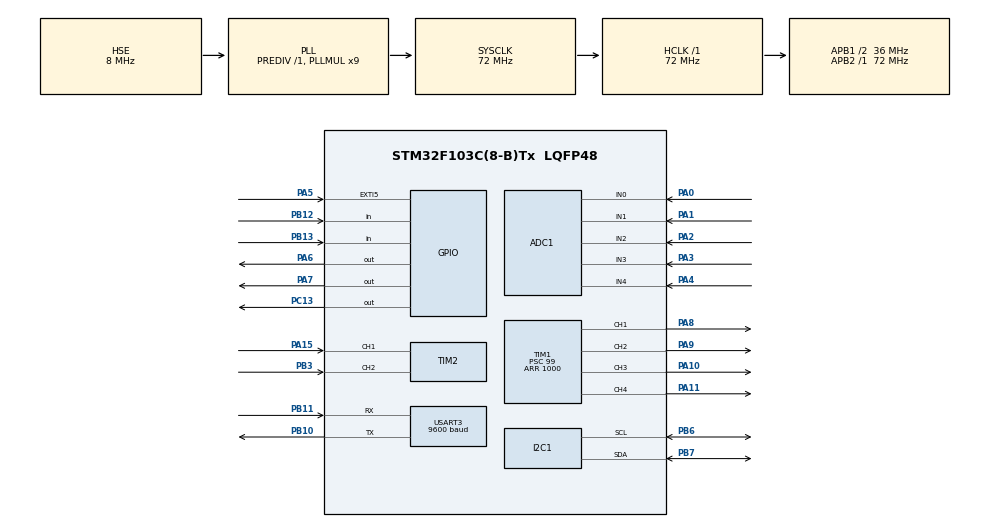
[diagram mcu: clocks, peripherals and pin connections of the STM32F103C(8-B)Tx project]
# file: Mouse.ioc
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ADC1.Channel-0\#ChannelRegularConversion=ADC_CHANNEL_0
ADC1.Channel-1\#ChannelRegularConversion=ADC_CHANNEL_0
ADC1.Channel-2\#ChannelRegularConversion=ADC_CHANNEL_0
ADC1.Channel-3\#ChannelRegularConversion=ADC_CHANNEL_0
ADC1.Channel-4\#ChannelRegularConversion=ADC_CHANNEL_0
ADC1.ContinuousConvMode=ENABLE
ADC1.NbrOfConversion=5
ADC1.NbrOfConversionFlag=1
ADC1.Rank-0\#ChannelRegularConversion=1
ADC1.Rank-1\#ChannelRegularConversion=2
ADC1.Rank-2\#ChannelRegularConversion=3
ADC1.Rank-3\#ChannelRegularConversion=4
ADC1.Rank-4\#ChannelRegularConversion=5
ADC1.SamplingTime-0\#ChannelRegularConversion=ADC_SAMPLETIME_1CYCLE_5
ADC1.SamplingTime-1\#ChannelRegularConversion=ADC_SAMPLETIME_1CYCLE_5
ADC1.SamplingTime-2\#ChannelRegularConversion=ADC_SAMPLETIME_1CYCLE_5
ADC1.SamplingTime-3\#ChannelRegularConversion=ADC_SAMPLETIME_1CYCLE_5
ADC1.SamplingTime-4\#ChannelRegularConversion=ADC_SAMPLETIME_1CYCLE_5
ADC1.master=1
Mcu.Family=STM32F1
Mcu.Name=STM32F103C(8-B)Tx
Mcu.Package=LQFP48
NVIC.EXTI9_5_IRQn=true\:0\:0\:false\:false\:true\:true\:true\:true
NVIC.PriorityGroup=NVIC_PRIORITYGROUP_4
NVIC.TIM2_IRQn=true\:0\:0\:false\:false\:true\:true\:true\:true
NVIC.USART3_IRQn=true\:0\:0\:false\:false\:true\:true\:true\:true
PA0-WKUP.Signal=ADCx_IN0
PA1.Signal=ADCx_IN1
PA10.Signal=S_TIM1_CH3
PA11.Signal=S_TIM1_CH4
PA13.Mode=Serial_Wire
PA13.Signal=SYS_JTMS-SWDIO
PA14.Mode=Serial_Wire
PA14.Signal=SYS_JTCK-SWCLK
PA15.GPIO_PuPd=GPIO_PULLUP
PA15.Signal=S_TIM2_CH1_ETR
PA2.Signal=ADCx_IN2
PA3.Signal=ADCx_IN3
PA4.Signal=ADCx_IN4
PA5.GPIO_PuPd=GPIO_PULLDOWN
PA5.Signal=GPXTI5
PA6.GPIO_PuPd=GPIO_PULLDOWN
PA6.Signal=GPIO_Output
PA7.GPIO_PuPd=GPIO_PULLDOWN
PA7.Signal=GPIO_Output
PA8.Signal=S_TIM1_CH1
PA9.Signal=S_TIM1_CH2
PB10.Mode=Asynchronous
PB10.Signal=USART3_TX
PB11.Mode=Asynchronous
PB11.Signal=USART3_RX
PB12.Signal=GPIO_Input
PB13.Signal=GPIO_Input
PB3.GPIO_PuPd=GPIO_PULLUP
PB3.Signal=S_TIM2_CH2
PB6.Mode=I2C
PB6.Signal=I2C1_SCL
PB7.Mode=I2C
PB7.Signal=I2C1_SDA
PC13-TAMPER-RTC.Signal=GPIO_Output
PD0-OSC_IN.Mode=HSE-External-Oscillator
PD0-OSC_IN.Signal=RCC_OSC_IN
PD1-OSC_OUT.Mode=HSE-External-Oscillator
PD1-OSC_OUT.Signal=RCC_OSC_OUT
ProjectManager.HeapSize=0x200
ProjectManager.StackSize=0x400
ProjectManager.TargetToolchain=STM32CubeIDE
RCC.ADCPresc=RCC_ADCPCLK2_DIV6
RCC.AHBFreq_Value=72000000
RCC.APB1CLKDivider=RCC_HCLK_DIV2
RCC.APB1Freq_Value=36000000
RCC.APB1TimFreq_Value=72000000
RCC.APB2Freq_Value=72000000
RCC.APB2TimFreq_Value=72000000
RCC.HCLKFreq_Value=72000000
RCC.PLLMUL=RCC_PLL_MUL9
RCC.PLLSourceVirtual=RCC_PLLSOURCE_HSE
RCC.SYSCLKFreq_VALUE=72000000
RCC.SYSCLKSource=RCC_SYSCLKSOURCE_PLLCLK
RCC.USBFreq_Value=72000000
SH.ADCx_IN0.0=ADC1_IN0,IN0
SH.ADCx_IN1.0=ADC1_IN1,IN1
SH.ADCx_IN2.0=ADC1_IN2,IN2
SH.ADCx_IN3.0=ADC1_IN3,IN3
SH.ADCx_IN4.0=ADC1_IN4,IN4
SH.S_TIM1_CH1.0=TIM1_CH1,PWM Generation1 CH1
SH.S_TIM1_CH2.0=TIM1_CH2,PWM Generation2 CH2
SH.S_TIM1_CH3.0=TIM1_CH3,PWM Generation3 CH3
SH.S_TIM1_CH4.0=TIM1_CH4,PWM Generation4 CH4
SH.S_TIM2_CH1_ETR.0=TIM2_CH1,Encoder_Interface
SH.S_TIM2_CH2.0=TIM2_CH2,Encoder_Interface
TIM1.Channel-PWM\ Generation1\ CH1=TIM_CHANNEL_1
TIM1.Channel-PWM\ Generation2\ CH2=TIM_CHANNEL_2
TIM1.Channel-PWM\ Generation3\ CH3=TIM_CHANNEL_3
TIM1.Channel-PWM\ Generation4\ CH4=TIM_CHANNEL_4
TIM1.Period=1000
TIM1.Prescaler=99
USART3.BaudRate=9600
USART3.VirtualMode=VM_ASYNC
VP_TIM1_VS_ClockSourceINT.Mode=Internal
board=custom

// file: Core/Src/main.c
/* USER CODE BEGIN Header */
/**
  ******************************************************************************
  * @file           : main.c
  * @brief          : Main program body
  ******************************************************************************
  * @attention
  *
  * Copyright (c) 2024 STMicroelectronics.
  * All rights reserved.
  *
  * This software is licensed under terms that can be found in the LICENSE file
  * in the root directory of this software component.
  * If no LICENSE file comes with this software, it is provided AS-IS.
  *
  ******************************************************************************
  */
/* USER CODE END Header */
#include "main.h"

/* USER CODE BEGIN PD */
/* Private define ------------------------------------------------------------*/
#define MPU6050_ADDR (0x68 << 1) // I2C address of the MPU6050 (0x68 or 0x69 depending on AD0 pin status)
#define WHO_AM_I_REG 0x75
#define PWR_MGMT_1_REG 0x6B
#define ACCEL_XOUT_H 0x3B
#define GYRO_XOUT_H 0x43

#define GYRO_LSB_TO_DEGSEC 65.5
#define ACC_LSB_SEN 4096

/* Private macro -------------------------------------------------------------*/
/* USER CODE END PD */

ADC_HandleTypeDef hadc1;

I2C_HandleTypeDef hi2c1;

TIM_HandleTypeDef htim1;
TIM_HandleTypeDef htim2;

UART_HandleTypeDef huart3;

//MPU6050
int16_t rawGx, rawGy, rawGz;
float Gyro_X, Gyro_Y, Gyro_Z;
int16_t gyroXoffset = 0, gyroYoffset = 0, gyroZoffset = 0;
float  AngleYaw;
unsigned long counter = 0;
float dt;
unsigned long preInterval = 0;

int flag = 0;

void SystemClock_Config(void);
static void MX_GPIO_Init(void);
static void MX_ADC1_Init(void);
static void MX_I2C1_Init(void);
static void MX_TIM1_Init(void);
static void MX_TIM2_Init(void);
static void MX_USART3_UART_Init(void);

/* USER CODE BEGIN 0 */
//mpu6050

void MPU6050_Init(I2C_HandleTypeDef *hi2c)
{
    uint8_t data;

    // Wake up the MPU-6050
    data = 0x00;
    HAL_I2C_Mem_Write(hi2c, MPU6050_ADDR, PWR_MGMT_1_REG, I2C_MEMADD_SIZE_8BIT, &data, 1, HAL_MAX_DELAY);

    data = 0x05; // Set the register to 0 to wake up the sensor
    HAL_I2C_Mem_Write(hi2c, MPU6050_ADDR, 0x1A, I2C_MEMADD_SIZE_8BIT, &data, 1, HAL_MAX_DELAY);

    // Configure the accelerometer (+/-8g)
    data = 0x10; // Set the accelerometer range to +/- 8g (0x10)
    HAL_I2C_Mem_Write(hi2c, MPU6050_ADDR, 0x1C, I2C_MEMADD_SIZE_8BIT, &data, 1, HAL_MAX_DELAY);

    // Configure the gyro (500dps full scale)
    data = 0x08; // Set the gyro range to 500dps (0x08)
    HAL_I2C_Mem_Write(hi2c, MPU6050_ADDR, 0x1B, I2C_MEMADD_SIZE_8BIT, &data, 1, HAL_MAX_DELAY);
}

void MPU6050_Read_Gyro(I2C_HandleTypeDef *hi2c, int16_t *Gyro_X, int16_t *Gyro_Y, int16_t *Gyro_Z)
{
    uint8_t Rec_Data[6];

    // Read 6 BYTES of data starting from GYRO_XOUT_H register
    HAL_I2C_Mem_Read(hi2c, MPU6050_ADDR, GYRO_XOUT_H, I2C_MEMADD_SIZE_8BIT, Rec_Data, 6, HAL_MAX_DELAY);

    *Gyro_X = (int16_t)(Rec_Data[0] << 8 | Rec_Data[1]);
    *Gyro_Y = (int16_t)(Rec_Data[2] << 8 | Rec_Data[3]);
    *Gyro_Z = (int16_t)(Rec_Data[4] << 8 | Rec_Data[5]);
}

void gyroOffsetCal()
{
    int16_t x, y, z;
    for (int i = 0; i < 500; i++)
    {
        MPU6050_Read_Gyro(&hi2c1, &x, &y, &z);
        gyroXoffset += x / GYRO_LSB_TO_DEGSEC;
        gyroYoffset += y / GYRO_LSB_TO_DEGSEC;
        gyroZoffset += z / GYRO_LSB_TO_DEGSEC;
    }
    gyroXoffset /= 500;
    gyroYoffset /= 500;
    gyroZoffset /= 500;
    HAL_Delay(2);
    preInterval = counter;
}

/* USER CODE END 0 */

int main(void)
{

  /* MCU Configuration--------------------------------------------------------*/

  /* Reset of all peripherals, Initializes the Flash interface and the Systick. */
  HAL_Init();

  /* Configure the system clock */
  SystemClock_Config();

  /* Initialize all configured peripherals */
  MX_GPIO_Init();
  MX_ADC1_Init();
  MX_I2C1_Init();
  MX_TIM1_Init();
  MX_TIM2_Init();
  MX_USART3_UART_Init();
  /* USER CODE BEGIN 2 */
  MPU6050_Init(&hi2c1);
  HAL_TIM_PWM_Start(&htim1, TIM_CHANNEL_1);
  HAL_TIM_PWM_Start(&htim1, TIM_CHANNEL_2);
  HAL_TIM_PWM_Start(&htim1, TIM_CHANNEL_3);
  HAL_TIM_PWM_Start(&htim1, TIM_CHANNEL_4);
  //gyroOffsetCal();
  /* USER CODE END 2 */

  /* Infinite loop */
  while (1)
  {
	  MPU6050_Read_Gyro(&hi2c1, &rawGx, &rawGy, &rawGz);
      Gyro_Z = (float)rawGz / GYRO_LSB_TO_DEGSEC - gyroZoffset;

      unsigned long Tnew = counter;
	  dt = (Tnew - preInterval) * 1e-3;
	  preInterval = Tnew;
      if (fabs(Gyro_Z) < 1.5)
      {
         Gyro_Z = 0;
      }
      else
      {
         AngleYaw += Gyro_Z * dt;
      }

      if(AngleYaw > 30){
    	  rightMotor(0,500);
    	  leftMotor(1,500);

    	  flag = 1;
      }
      else if(AngleYaw < -30){
          	  rightMotor(1,500);
          	  leftMotor(0,500);
          	  flag = 1;
            }
      else if(AngleYaw < 30 && AngleYaw > 0 ){
    	  rightMotor(0,0);
    	  leftMotor(0,0);
    	  flag = 0;
      }

      MX_GPIO_Init();
      MX_I2C1_Init();
  }
}

void SystemClock_Config(void)
{
  RCC_OscInitTypeDef RCC_OscInitStruct = {0};
  RCC_ClkInitTypeDef RCC_ClkInitStruct = {0};
  RCC_PeriphCLKInitTypeDef PeriphClkInit = {0};

  /** Initializes the RCC Oscillators according to the specified parameters
  * in the RCC_OscInitTypeDef structure.
  */
  RCC_OscInitStruct.OscillatorType = RCC_OSCILLATORTYPE_HSE;
  RCC_OscInitStruct.HSEState = RCC_HSE_ON;
  RCC_OscInitStruct.HSEPredivValue = RCC_HSE_PREDIV_DIV1;
  RCC_OscInitStruct.HSIState = RCC_HSI_ON;
  RCC_OscInitStruct.PLL.PLLState = RCC_PLL_ON;
  RCC_OscInitStruct.PLL.PLLSource = RCC_PLLSOURCE_HSE;
  RCC_OscInitStruct.PLL.PLLMUL = RCC_PLL_MUL9;
  if (HAL_RCC_OscConfig(&RCC_OscInitStruct) != HAL_OK)
  {
    Error_Handler();
  }

  /** Initializes the CPU, AHB and APB buses clocks
  */
  RCC_ClkInitStruct.ClockType = RCC_CLOCKTYPE_HCLK|RCC_CLOCKTYPE_SYSCLK
                              |RCC_CLOCKTYPE_PCLK1|RCC_CLOCKTYPE_PCLK2;
  RCC_ClkInitStruct.SYSCLKSource = RCC_SYSCLKSOURCE_PLLCLK;
  RCC_ClkInitStruct.AHBCLKDivider = RCC_SYSCLK_DIV1;
  RCC_ClkInitStruct.APB1CLKDivider = RCC_HCLK_DIV2;
  RCC_ClkInitStruct.APB2CLKDivider = RCC_HCLK_DIV1;

  if (HAL_RCC_ClockConfig(&RCC_ClkInitStruct, FLASH_LATENCY_2) != HAL_OK)
  {
    Error_Handler();
  }
  PeriphClkInit.PeriphClockSelection = RCC_PERIPHCLK_ADC;
  PeriphClkInit.AdcClockSelection = RCC_ADCPCLK2_DIV6;
  if (HAL_RCCEx_PeriphCLKConfig(&PeriphClkInit) != HAL_OK)
  {
    Error_Handler();
  }
}

static void MX_ADC1_Init(void)
{

  ADC_ChannelConfTypeDef sConfig = {0};

  /** Common config
  */
  hadc1.Instance = ADC1;
  hadc1.Init.ScanConvMode = ADC_SCAN_ENABLE;
  hadc1.Init.ContinuousConvMode = ENABLE;
  hadc1.Init.DiscontinuousConvMode = DISABLE;
  hadc1.Init.ExternalTrigConv = ADC_SOFTWARE_START;
  hadc1.Init.DataAlign = ADC_DATAALIGN_RIGHT;
  hadc1.Init.NbrOfConversion = 5;
  if (HAL_ADC_Init(&hadc1) != HAL_OK)
  {
    Error_Handler();
  }

  /** Configure Regular Channel
  */
  sConfig.Channel = ADC_CHANNEL_0;
  sConfig.Rank = ADC_REGULAR_RANK_1;
  sConfig.SamplingTime = ADC_SAMPLETIME_1CYCLE_5;
  if (HAL_ADC_ConfigChannel(&hadc1, &sConfig) != HAL_OK)
  {
    Error_Handler();
  }

  /** Configure Regular Channel
  */
  sConfig.Rank = ADC_REGULAR_RANK_2;
  if (HAL_ADC_ConfigChannel(&hadc1, &sConfig) != HAL_OK)
  {
    Error_Handler();
  }

  /** Configure Regular Channel
  */
  sConfig.Rank = ADC_REGULAR_RANK_3;
  if (HAL_ADC_ConfigChannel(&hadc1, &sConfig) != HAL_OK)
  {
    Error_Handler();
  }

  /** Configure Regular Channel
  */
  sConfig.Rank = ADC_REGULAR_RANK_4;
  if (HAL_ADC_ConfigChannel(&hadc1, &sConfig) != HAL_OK)
  {
    Error_Handler();
  }

  /** Configure Regular Channel
  */
  sConfig.Rank = ADC_REGULAR_RANK_5;
  if (HAL_ADC_ConfigChannel(&hadc1, &sConfig) != HAL_OK)
  {
    Error_Handler();
  }

}

static void MX_I2C1_Init(void)
{

  hi2c1.Instance = I2C1;
  hi2c1.Init.ClockSpeed = 100000;
  hi2c1.Init.DutyCycle = I2C_DUTYCYCLE_2;
  hi2c1.Init.OwnAddress1 = 0;
  hi2c1.Init.AddressingMode = I2C_ADDRESSINGMODE_7BIT;
  hi2c1.Init.DualAddressMode = I2C_DUALADDRESS_DISABLE;
  hi2c1.Init.OwnAddress2 = 0;
  hi2c1.Init.GeneralCallMode = I2C_GENERALCALL_DISABLE;
  hi2c1.Init.NoStretchMode = I2C_NOSTRETCH_DISABLE;
  if (HAL_I2C_Init(&hi2c1) != HAL_OK)
  {
    Error_Handler();
  }

}

static void MX_TIM1_Init(void)
{

  TIM_ClockConfigTypeDef sClockSourceConfig = {0};
  TIM_MasterConfigTypeDef sMasterConfig = {0};
  TIM_OC_InitTypeDef sConfigOC = {0};
  TIM_BreakDeadTimeConfigTypeDef sBreakDeadTimeConfig = {0};

  htim1.Instance = TIM1;
  htim1.Init.Prescaler = 72;
  htim1.Init.CounterMode = TIM_COUNTERMODE_UP;
  htim1.Init.Period = 1000;
  htim1.Init.ClockDivision = TIM_CLOCKDIVISION_DIV1;
  htim1.Init.RepetitionCounter = 0;
  htim1.Init.AutoReloadPreload = TIM_AUTORELOAD_PRELOAD_DISABLE;
  if (HAL_TIM_Base_Init(&htim1) != HAL_OK)
  {
    Error_Handler();
  }
  sClockSourceConfig.ClockSource = TIM_CLOCKSOURCE_INTERNAL;
  if (HAL_TIM_ConfigClockSource(&htim1, &sClockSourceConfig) != HAL_OK)
  {
    Error_Handler();
  }
  if (HAL_TIM_PWM_Init(&htim1) != HAL_OK)
  {
    Error_Handler();
  }
  sMasterConfig.MasterOutputTrigger = TIM_TRGO_RESET;
  sMasterConfig.MasterSlaveMode = TIM_MASTERSLAVEMODE_DISABLE;
  if (HAL_TIMEx_MasterConfigSynchronization(&htim1, &sMasterConfig) != HAL_OK)
  {
    Error_Handler();
  }
  sConfigOC.OCMode = TIM_OCMODE_PWM1;
  sConfigOC.Pulse = 0;
  sConfigOC.OCPolarity = TIM_OCPOLARITY_HIGH;
  sConfigOC.OCNPolarity = TIM_OCNPOLARITY_HIGH;
  sConfigOC.OCFastMode = TIM_OCFAST_DISABLE;
  sConfigOC.OCIdleState = TIM_OCIDLESTATE_RESET;
  sConfigOC.OCNIdleState = TIM_OCNIDLESTATE_RESET;
  if (HAL_TIM_PWM_ConfigChannel(&htim1, &sConfigOC, TIM_CHANNEL_1) != HAL_OK)
  {
    Error_Handler();
  }
  if (HAL_TIM_PWM_ConfigChannel(&htim1, &sConfigOC, TIM_CHANNEL_2) != HAL_OK)
  {
    Error_Handler();
  }
  if (HAL_TIM_PWM_ConfigChannel(&htim1, &sConfigOC, TIM_CHANNEL_3) != HAL_OK)
  {
    Error_Handler();
  }
  if (HAL_TIM_PWM_ConfigChannel(&htim1, &sConfigOC, TIM_CHANNEL_4) != HAL_OK)
  {
    Error_Handler();
  }
  sBreakDeadTimeConfig.OffStateRunMode = TIM_OSSR_DISABLE;
  sBreakDeadTimeConfig.OffStateIDLEMode = TIM_OSSI_DISABLE;
  sBreakDeadTimeConfig.LockLevel = TIM_LOCKLEVEL_OFF;
  sBreakDeadTimeConfig.DeadTime = 0;
  sBreakDeadTimeConfig.BreakState = TIM_BREAK_DISABLE;
  sBreakDeadTimeConfig.BreakPolarity = TIM_BREAKPOLARITY_HIGH;
  sBreakDeadTimeConfig.AutomaticOutput = TIM_AUTOMATICOUTPUT_DISABLE;
  if (HAL_TIMEx_ConfigBreakDeadTime(&htim1, &sBreakDeadTimeConfig) != HAL_OK)
  {
    Error_Handler();
  }
  HAL_TIM_MspPostInit(&htim1);

}

static void MX_TIM2_Init(void)
{

  TIM_Encoder_InitTypeDef sConfig = {0};
  TIM_MasterConfigTypeDef sMasterConfig = {0};

  htim2.Instance = TIM2;
  htim2.Init.Prescaler = 0;
  htim2.Init.CounterMode = TIM_COUNTERMODE_UP;
  htim2.Init.Period = 65535;
  htim2.Init.ClockDivision = TIM_CLOCKDIVISION_DIV1;
  htim2.Init.AutoReloadPreload = TIM_AUTORELOAD_PRELOAD_DISABLE;
  sConfig.EncoderMode = TIM_ENCODERMODE_TI1;
  sConfig.IC1Polarity = TIM_ICPOLARITY_RISING;
  sConfig.IC1Selection = TIM_ICSELECTION_DIRECTTI;
  sConfig.IC1Prescaler = TIM_ICPSC_DIV1;
  sConfig.IC1Filter = 0;
  sConfig.IC2Polarity = TIM_ICPOLARITY_RISING;
  sConfig.IC2Selection = TIM_ICSELECTION_DIRECTTI;
  sConfig.IC2Prescaler = TIM_ICPSC_DIV1;
  sConfig.IC2Filter = 0;
  if (HAL_TIM_Encoder_Init(&htim2, &sConfig) != HAL_OK)
  {
    Error_Handler();
  }
  sMasterConfig.MasterOutputTrigger = TIM_TRGO_RESET;
  sMasterConfig.MasterSlaveMode = TIM_MASTERSLAVEMODE_DISABLE;
  if (HAL_TIMEx_MasterConfigSynchronization(&htim2, &sMasterConfig) != HAL_OK)
  {
    Error_Handler();
  }

}

static void MX_USART3_UART_Init(void)
{

  huart3.Instance = USART3;
  huart3.Init.BaudRate = 9600;
  huart3.Init.WordLength = UART_WORDLENGTH_8B;
  huart3.Init.StopBits = UART_STOPBITS_1;
  huart3.Init.Parity = UART_PARITY_NONE;
  huart3.Init.Mode = UART_MODE_TX_RX;
  huart3.Init.HwFlowCtl = UART_HWCONTROL_NONE;
  huart3.Init.OverSampling = UART_OVERSAMPLING_16;
  if (HAL_UART_Init(&huart3) != HAL_OK)
  {
    Error_Handler();
  }

}

static void MX_GPIO_Init(void)
{
  GPIO_InitTypeDef GPIO_InitStruct = {0};

  /* GPIO Ports Clock Enable */
  __HAL_RCC_GPIOC_CLK_ENABLE();
  __HAL_RCC_GPIOD_CLK_ENABLE();
  __HAL_RCC_GPIOA_CLK_ENABLE();
  __HAL_RCC_GPIOB_CLK_ENABLE();

  /*Configure GPIO pin Output Level */
  HAL_GPIO_WritePin(GPIOC, GPIO_PIN_13, GPIO_PIN_RESET);

  /*Configure GPIO pin Output Level */
  HAL_GPIO_WritePin(GPIOA, GPIO_PIN_6|GPIO_PIN_7, GPIO_PIN_RESET);

  /*Configure GPIO pin : PC13 */
  GPIO_InitStruct.Pin = GPIO_PIN_13;
  GPIO_InitStruct.Mode = GPIO_MODE_OUTPUT_PP;
  GPIO_InitStruct.Pull = GPIO_NOPULL;
  GPIO_InitStruct.Speed = GPIO_SPEED_FREQ_LOW;
  HAL_GPIO_Init(GPIOC, &GPIO_InitStruct);

  /*Configure GPIO pin : PA5 */
  GPIO_InitStruct.Pin = GPIO_PIN_5;
  GPIO_InitStruct.Mode = GPIO_MODE_IT_RISING;
  GPIO_InitStruct.Pull = GPIO_PULLDOWN;
  HAL_GPIO_Init(GPIOA, &GPIO_InitStruct);

  /*Configure GPIO pins : PA6 PA7 */
  GPIO_InitStruct.Pin = GPIO_PIN_6|GPIO_PIN_7;
  GPIO_InitStruct.Mode = GPIO_MODE_OUTPUT_PP;
  GPIO_InitStruct.Pull = GPIO_PULLDOWN;
  GPIO_InitStruct.Speed = GPIO_SPEED_FREQ_LOW;
  HAL_GPIO_Init(GPIOA, &GPIO_InitStruct);

  /*Configure GPIO pins : PB12 PB13 */
  GPIO_InitStruct.Pin = GPIO_PIN_12|GPIO_PIN_13;
  GPIO_InitStruct.Mode = GPIO_MODE_INPUT;
  GPIO_InitStruct.Pull = GPIO_NOPULL;
  HAL_GPIO_Init(GPIOB, &GPIO_InitStruct);

  /* EXTI interrupt init*/
  HAL_NVIC_SetPriority(EXTI9_5_IRQn, 0, 0);
  HAL_NVIC_EnableIRQ(EXTI9_5_IRQn);

}

/* USER CODE BEGIN 4 */
void rightMotor(uint8_t dir,uint16_t speed){
	if(dir == 1){
		__HAL_TIM_SET_COMPARE(&htim1, TIM_CHANNEL_1, speed);
		__HAL_TIM_SET_COMPARE(&htim1, TIM_CHANNEL_2, 0);

	}else if(dir ==0){
		__HAL_TIM_SET_COMPARE(&htim1, TIM_CHANNEL_1, 0);
		__HAL_TIM_SET_COMPARE(&htim1, TIM_CHANNEL_2, speed);
	}
	//MPU6050_Init(&hi2c1);

	 // Right motor forward TIM_CHANNEL_1
	    // Right motor reverse off TIM_CHANNEL_2

}

void leftMotor(uint8_t dir,uint16_t speed){
	if(dir == 1){
		__HAL_TIM_SET_COMPARE(&htim1, TIM_CHANNEL_3, speed);
		__HAL_TIM_SET_COMPARE(&htim1, TIM_CHANNEL_4, 0);

	}else if(dir ==0){
		__HAL_TIM_SET_COMPARE(&htim1, TIM_CHANNEL_3, 0);
		__HAL_TIM_SET_COMPARE(&htim1, TIM_CHANNEL_4, speed);
	}
	 // Right motor forward TIM_CHANNEL_1
	    // Right motor reverse off TIM_CHANNEL_2

}
/* USER CODE END 4 */

void Error_Handler(void)
{
  __disable_irq();
  while (1)
  {
  }
}
